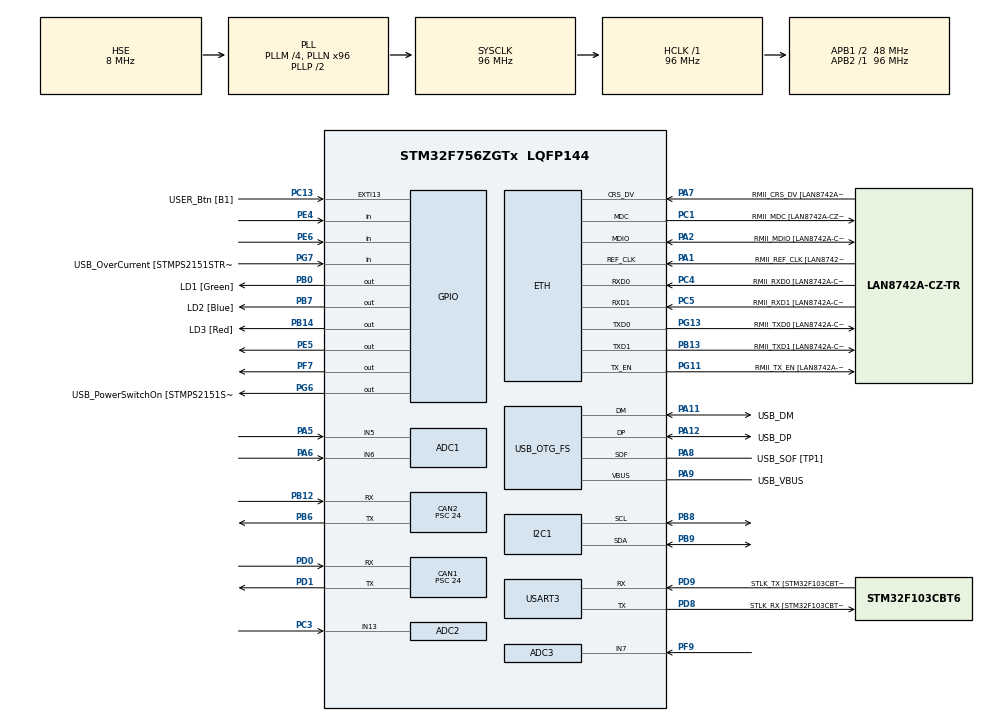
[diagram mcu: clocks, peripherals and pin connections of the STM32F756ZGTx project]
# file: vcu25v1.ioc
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ADC1.Channel-0\#ChannelRegularConversion=ADC_CHANNEL_5
ADC1.Channel-1\#ChannelRegularConversion=ADC_CHANNEL_6
ADC1.NbrOfConversion=2
ADC1.NbrOfConversionFlag=1
ADC1.Rank-0\#ChannelRegularConversion=1
ADC1.Rank-1\#ChannelRegularConversion=2
ADC1.SamplingTime-0\#ChannelRegularConversion=ADC_SAMPLETIME_15CYCLES
ADC1.SamplingTime-1\#ChannelRegularConversion=ADC_SAMPLETIME_15CYCLES
ADC1.ScanConvMode=ADC_SCAN_ENABLE
ADC1.master=1
ADC2.Channel-6\#ChannelRegularConversion=ADC_CHANNEL_13
ADC2.NbrOfConversionFlag=1
ADC2.Rank-6\#ChannelRegularConversion=1
ADC2.SamplingTime-6\#ChannelRegularConversion=ADC_SAMPLETIME_3CYCLES
ADC3.Channel-8\#ChannelRegularConversion=ADC_CHANNEL_7
ADC3.NbrOfConversionFlag=1
ADC3.Rank-8\#ChannelRegularConversion=1
ADC3.SamplingTime-8\#ChannelRegularConversion=ADC_SAMPLETIME_15CYCLES
CAN1.BS1=CAN_BS1_2TQ
CAN1.CalculateBaudRate=500000
CAN1.CalculateTimeBit=2000
CAN1.CalculateTimeQuantum=500.0
CAN1.Prescaler=24
CAN2.BS1=CAN_BS1_2TQ
CAN2.CalculateBaudRate=500000
CAN2.CalculateTimeBit=2000
CAN2.CalculateTimeQuantum=500.0
CAN2.Prescaler=24
ETH.MediaInterface=HAL_ETH_RMII_MODE
ETH.PHY_Name=LAN8742A_PHY_ADDRESS
ETH.PHY_Value=0
ETH.PhyAddress=0
FREERTOS.BinarySemaphores01=ADCDataReady,Dynamic,NULL,Available
FREERTOS.Tasks01=InverterProcess,24,384,InverterProcessStart,Default,NULL,Dynamic,NULL,NULL;Plausibility,24,384,PlausibilityStart,Default,NULL,Dynamic,NULL,NULL;AppsVerify,24,384,AppsVerifyStart,Default,NULL,Dynamic,NULL,NULL;BrakesVerify,24,384,BrakesVerifyStart,Default,NULL,Dynamic,NULL,NULL;PedalCalibratio,40,384,PedalCalStart,Default,NULL,Dynamic,NULL,NULL;readyTask,32,384,readyTaskStart,Default,NULL,Dynamic,NULL,NULL;inverterVerify,32,384,inverterVerifyStart,Default,NULL,Dynamic,NULL,NULL
FREERTOS.configUSE_NEWLIB_REENTRANT=1
I2C1.Timing=0x20303E5D
Mcu.Family=STM32F7
Mcu.Name=STM32F756ZGTx
Mcu.Package=LQFP144
NVIC.PriorityGroup=NVIC_PRIORITYGROUP_4
NVIC.TIM6_DAC_IRQn=true\:15\:0\:false\:false\:true\:false\:false\:true\:true
NVIC.TimeBase=TIM6_DAC_IRQn
NVIC.TimeBaseIP=TIM6
PA1.GPIO_Label=RMII_REF_CLK [LAN8742A-CZ-TR_REFCLK0]
PA1.Mode=RMII
PA1.Signal=ETH_REF_CLK
PA10.GPIO_Label=USB_ID
PA10.Signal=USB_OTG_FS_ID
PA11.GPIO_Label=USB_DM
PA11.Mode=Device_Only
PA11.Signal=USB_OTG_FS_DM
PA12.GPIO_Label=USB_DP
PA12.Mode=Device_Only
PA12.Signal=USB_OTG_FS_DP
PA13.GPIO_Label=TMS
PA13.Mode=Serial_Wire
PA13.Signal=SYS_JTMS-SWDIO
PA14.GPIO_Label=TCK
PA14.Mode=Serial_Wire
PA14.Signal=SYS_JTCK-SWCLK
PA2.GPIO_Label=RMII_MDIO [LAN8742A-CZ-TR_MDIO]
PA2.Mode=RMII
PA2.Signal=ETH_MDIO
PA5.Signal=ADCx_IN5
PA6.Signal=ADCx_IN6
PA7.GPIO_Label=RMII_CRS_DV [LAN8742A-CZ-TR_CRS_DV]
PA7.Mode=RMII
PA7.Signal=ETH_CRS_DV
PA8.GPIO_Label=USB_SOF [TP1]
PA8.Mode=Activate_SOF_FS
PA8.Signal=USB_OTG_FS_SOF
PA9.GPIO_Label=USB_VBUS
PA9.Mode=Activate_VBUS
PA9.Signal=USB_OTG_FS_VBUS
PB0.GPIO_Label=LD1 [Green]
PB0.Signal=GPIO_Output
PB12.Mode=CAN_Activate
PB12.Signal=CAN2_RX
PB13.GPIO_Label=RMII_TXD1 [LAN8742A-CZ-TR_TXD1]
PB13.Mode=RMII
PB13.Signal=ETH_TXD1
PB14.GPIO_Label=LD3 [Red]
PB14.Signal=GPIO_Output
PB3.GPIO_Label=SW0
PB3.Signal=SYS_JTDO-SWO
PB6.Mode=CAN_Activate
PB6.Signal=CAN2_TX
PB7.GPIO_Label=LD2 [Blue]
PB7.Signal=GPIO_Output
PB8.Mode=I2C
PB8.Signal=I2C1_SCL
PB9.Mode=I2C
PB9.Signal=I2C1_SDA
PC1.GPIO_Label=RMII_MDC [LAN8742A-CZ-TR_MDC]
PC1.Mode=RMII
PC1.Signal=ETH_MDC
PC13.GPIO_Label=USER_Btn [B1]
PC13.Signal=GPXTI13
PC14/OSC32_IN.Mode=LSE-External-Oscillator
PC14/OSC32_IN.Signal=RCC_OSC32_IN
PC15/OSC32_OUT.Mode=LSE-External-Oscillator
PC15/OSC32_OUT.Signal=RCC_OSC32_OUT
PC3.Signal=ADCx_IN13
PC4.GPIO_Label=RMII_RXD0 [LAN8742A-CZ-TR_RXD0]
PC4.Mode=RMII
PC4.Signal=ETH_RXD0
PC5.GPIO_Label=RMII_RXD1 [LAN8742A-CZ-TR_RXD1]
PC5.Mode=RMII
PC5.Signal=ETH_RXD1
PD0.Mode=CAN_Activate
PD0.Signal=CAN1_RX
PD1.Mode=CAN_Activate
PD1.Signal=CAN1_TX
PD8.GPIO_Label=STLK_RX [STM32F103CBT6_PA3]
PD8.Mode=Asynchronous
PD8.Signal=USART3_TX
PD9.GPIO_Label=STLK_TX [STM32F103CBT6_PA2]
PD9.Mode=Asynchronous
PD9.Signal=USART3_RX
PE4.Signal=GPIO_Input
PE5.Signal=GPIO_Output
PE6.Signal=GPIO_Input
PF7.Signal=GPIO_Output
PF9.Mode=IN7
PF9.Signal=ADC3_IN7
PG11.GPIO_Label=RMII_TX_EN [LAN8742A-CZ-TR_TXEN]
PG11.Mode=RMII
PG11.Signal=ETH_TX_EN
PG13.GPIO_Label=RMII_TXD0 [LAN8742A-CZ-TR_TXD0]
PG13.Mode=RMII
PG13.Signal=ETH_TXD0
PG6.GPIO_Label=USB_PowerSwitchOn [STMPS2151STR_EN]
PG6.Signal=GPIO_Output
PG7.GPIO_Label=USB_OverCurrent [STMPS2151STR_FAULT]
PG7.Signal=GPIO_Input
PH0/OSC_IN.GPIO_Label=MCO [STM32F103CBT6_PA8]
PH0/OSC_IN.Mode=HSE-External-Clock-Source
PH0/OSC_IN.Signal=RCC_OSC_IN
PH1/OSC_OUT.Mode=HSE-External-Clock-Source
PH1/OSC_OUT.Signal=RCC_OSC_OUT
ProjectManager.HeapSize=0x200
ProjectManager.StackSize=0x400
ProjectManager.TargetToolchain=STM32CubeIDE
RCC.48MHZClocksFreq_Value=24000000
RCC.AHBFreq_Value=96000000
RCC.APB1CLKDivider=RCC_HCLK_DIV2
RCC.APB1Freq_Value=48000000
RCC.APB1TimFreq_Value=96000000
RCC.APB2Freq_Value=96000000
RCC.APB2TimFreq_Value=96000000
RCC.CortexFreq_Value=96000000
RCC.HCLKFreq_Value=96000000
RCC.HSE_VALUE=8000000
RCC.HSI_VALUE=16000000
RCC.PLLM=4
RCC.PLLMUL=RCC_PLL_MUL9
RCC.PLLN=96
RCC.PLLQ=4
RCC.PRESCALERUSB=RCC_USBCLKSOURCE_PLL_DIV1_5
RCC.SYSCLKFreq_VALUE=96000000
RCC.SYSCLKSource=RCC_SYSCLKSOURCE_PLLCLK
RCC.SYSCLKSourceVirtual=RCC_SYSCLKSOURCE_PLLCLK
RCC.USBFreq_Value=48000000
RCC.VCOOutputFreq_Value=192000000
SH.ADCx_IN13.0=ADC2_IN13,IN13
SH.ADCx_IN5.0=ADC1_IN5,IN5
SH.ADCx_IN6.0=ADC1_IN6,IN6
USART3.VirtualMode-Asynchronous=VM_ASYNC
USB_OTG_FS.VirtualMode=Device_Only
VP_FREERTOS_VS_CMSIS_V2.Mode=CMSIS_V2
VP_SYS_VS_tim6.Mode=TIM6
board=NUCLEO-F756ZG

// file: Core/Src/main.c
/* USER CODE BEGIN Header */
/**
  ******************************************************************************
  * @file           : main.c
  * @brief          : Main program body
  ******************************************************************************
  * @attention
  *
  * Copyright (c) 2025 STMicroelectronics.
  * All rights reserved.
  *
  * This software is licensed under terms that can be found in the LICENSE file
  * in the root directory of this software component.
  * If no LICENSE file comes with this software, it is provided AS-IS.
  *
  ******************************************************************************
  */
/* USER CODE END Header */
#include "main.h"
#include "string.h"
#include "cmsis_os.h"

/* USER CODE BEGIN PD */
#define ADC_NUM_CHANNELS 2 // Matches hadc3.Init.NbrOfConversion
/* USER CODE END PD */

#if defined ( __ICCARM__ ) /*!< IAR Compiler */
#pragma location=0x2004c000
ETH_DMADescTypeDef  DMARxDscrTab[ETH_RX_DESC_CNT]; /* Ethernet Rx DMA Descriptors */
#pragma location=0x2004c0a0
ETH_DMADescTypeDef  DMATxDscrTab[ETH_TX_DESC_CNT]; /* Ethernet Tx DMA Descriptors */

#elif defined ( __CC_ARM )  /* MDK ARM Compiler */

__attribute__((at(0x2004c000))) ETH_DMADescTypeDef  DMARxDscrTab[ETH_RX_DESC_CNT]; /* Ethernet Rx DMA Descriptors */
__attribute__((at(0x2004c0a0))) ETH_DMADescTypeDef  DMATxDscrTab[ETH_TX_DESC_CNT]; /* Ethernet Tx DMA Descriptors */

#elif defined ( __GNUC__ ) /* GNU Compiler */

ETH_DMADescTypeDef DMARxDscrTab[ETH_RX_DESC_CNT] __attribute__((section(".RxDecripSection"))); /* Ethernet Rx DMA Descriptors */
ETH_DMADescTypeDef DMATxDscrTab[ETH_TX_DESC_CNT] __attribute__((section(".TxDecripSection")));   /* Ethernet Tx DMA Descriptors */
#endif

ETH_TxPacketConfig TxConfig;

ADC_HandleTypeDef hadc1;
ADC_HandleTypeDef hadc2;
ADC_HandleTypeDef hadc3;

CAN_HandleTypeDef hcan1;
CAN_HandleTypeDef hcan2;

ETH_HandleTypeDef heth;

I2C_HandleTypeDef hi2c1;

UART_HandleTypeDef huart3;

PCD_HandleTypeDef hpcd_USB_OTG_FS;

/* Definitions for InverterProcess */
osThreadId_t InverterProcessHandle;
const osThreadAttr_t InverterProcess_attributes = {
  .name = "InverterProcess",
  .stack_size = 384 * 4,
  .priority = (osPriority_t) osPriorityNormal,
};
/* Definitions for Plausibility */
osThreadId_t PlausibilityHandle;
const osThreadAttr_t Plausibility_attributes = {
  .name = "Plausibility",
  .stack_size = 384 * 4,
  .priority = (osPriority_t) osPriorityNormal,
};
/* Definitions for AppsVerify */
osThreadId_t AppsVerifyHandle;
const osThreadAttr_t AppsVerify_attributes = {
  .name = "AppsVerify",
  .stack_size = 384 * 4,
  .priority = (osPriority_t) osPriorityNormal,
};
/* Definitions for BrakesVerify */
osThreadId_t BrakesVerifyHandle;
const osThreadAttr_t BrakesVerify_attributes = {
  .name = "BrakesVerify",
  .stack_size = 384 * 4,
  .priority = (osPriority_t) osPriorityNormal,
};
/* Definitions for PedalCalibratio */
osThreadId_t PedalCalibratioHandle;
const osThreadAttr_t PedalCalibratio_attributes = {
  .name = "PedalCalibratio",
  .stack_size = 384 * 4,
  .priority = (osPriority_t) osPriorityHigh,
};
/* Definitions for readyTask */
osThreadId_t readyTaskHandle;
const osThreadAttr_t readyTask_attributes = {
  .name = "readyTask",
  .stack_size = 384 * 4,
  .priority = (osPriority_t) osPriorityAboveNormal,
};
/* Definitions for inverterVerify */
osThreadId_t inverterVerifyHandle;
const osThreadAttr_t inverterVerify_attributes = {
  .name = "inverterVerify",
  .stack_size = 384 * 4,
  .priority = (osPriority_t) osPriorityAboveNormal,
};
/* Definitions for ADCDataReady */
osSemaphoreId_t ADCDataReadyHandle;
const osSemaphoreAttr_t ADCDataReady_attributes = {
  .name = "ADCDataReady"
};
/* USER CODE BEGIN PV */
uint32_t appsRaw1Min = 0;
uint32_t appsRaw1Max = 0;
uint32_t appsRaw2Min = 0;
uint32_t appsRaw2Max = 0;
float appsConverted = 0.0;

uint32_t brakesRaw1Min = 0;
uint32_t brakesRaw1Max = 0;
uint32_t brakesRaw2Min = 0;
uint32_t brakesRaw2Max = 0;
uint32_t brakesConverted = 0;

uint32_t appsRaw1;

volatile uint32_t adcResults[ADC_NUM_CHANNELS]; // Use volatile because DMA writes to it

bool pedalFault = 0;
bool inverterFault = 0;
bool brakeTrigger = 0;
bool currentFault = 0;

// NEW GLOBAL VARIABLES FOR TASK COMMUNICATION (replacing queues)
volatile float global_accel_position = 0.0f;    // Shared between appsVerify and plausibility (0.0-1.0 range)
volatile float global_brake_position = 0.0f;    // Shared between brakeVerify and plausibility (0.0-1.0 range)
volatile float global_torque_command = 0.0f;    // Shared between plausibility and VCU (N⋅m)
volatile bool global_accel_data_updated = false;      // Flag to indicate new data available
volatile bool global_brake_data_updated = false;      // Flag to indicate new data available
volatile bool global_brake_isShort = false;		// Flag to see if brake shorting or open circuit
volatile bool global_plausibility_check = true;	  // Flag to check plausibility

/* USER CODE END PV */

void SystemClock_Config(void);
static void MX_GPIO_Init(void);
static void MX_ETH_Init(void);
static void MX_I2C1_Init(void);
static void MX_USART3_UART_Init(void);
static void MX_USB_OTG_FS_PCD_Init(void);
static void MX_CAN1_Init(void);
static void MX_ADC1_Init(void);
static void MX_CAN2_Init(void);
static void MX_ADC2_Init(void);
static void MX_ADC3_Init(void);
void InverterProcessStart(void *argument);
void PlausibilityStart(void *argument);
void AppsVerifyStart(void *argument);
void BrakesVerifyStart(void *argument);
void PedalCalStart(void *argument);
void readyTaskStart(void *argument);
void inverterVerifyStart(void *argument);

int main(void)
{

  /* MCU Configuration--------------------------------------------------------*/

  /* Reset of all peripherals, Initializes the Flash interface and the Systick. */
  HAL_Init();

  /* Configure the system clock */
  SystemClock_Config();

  /* Initialize all configured peripherals */
  MX_GPIO_Init();
  MX_ETH_Init();
  MX_I2C1_Init();
  MX_USART3_UART_Init();
  MX_USB_OTG_FS_PCD_Init();
  MX_CAN1_Init();
  MX_ADC1_Init();
  MX_CAN2_Init();
  MX_ADC2_Init();
  MX_ADC3_Init();
  /* USER CODE BEGIN 2 */
  // hcan1 = high priority, hcan2 = low priority
  HAL_CAN_Start(&hcan1);
  HAL_CAN_Start(&hcan2);

  /* USER CODE END 2 */

  /* Init scheduler */
  osKernelInitialize();

  /* Create the semaphores(s) */
  /* creation of ADCDataReady */
  ADCDataReadyHandle = osSemaphoreNew(1, 1, &ADCDataReady_attributes);

  /* Create the thread(s) */
  /* creation of InverterProcess */
  InverterProcessHandle = osThreadNew(InverterProcessStart, NULL, &InverterProcess_attributes);

  /* creation of Plausibility */
  PlausibilityHandle = osThreadNew(PlausibilityStart, NULL, &Plausibility_attributes);

  /* creation of AppsVerify */
  AppsVerifyHandle = osThreadNew(AppsVerifyStart, NULL, &AppsVerify_attributes);

  /* creation of BrakesVerify */
  BrakesVerifyHandle = osThreadNew(BrakesVerifyStart, NULL, &BrakesVerify_attributes);

  /* creation of PedalCalibratio */
  PedalCalibratioHandle = osThreadNew(PedalCalStart, NULL, &PedalCalibratio_attributes);

  /* creation of readyTask */
  readyTaskHandle = osThreadNew(readyTaskStart, NULL, &readyTask_attributes);

  /* creation of inverterVerify */
  inverterVerifyHandle = osThreadNew(inverterVerifyStart, NULL, &inverterVerify_attributes);

  /* Start scheduler */
  osKernelStart();

  /* We should never get here as control is now taken by the scheduler */

  /* Infinite loop */
  while (1)
  {

  }
}

void SystemClock_Config(void)
{
  RCC_OscInitTypeDef RCC_OscInitStruct = {0};
  RCC_ClkInitTypeDef RCC_ClkInitStruct = {0};

  /** Configure LSE Drive Capability
  */
  HAL_PWR_EnableBkUpAccess();

  /** Configure the main internal regulator output voltage
  */
  __HAL_RCC_PWR_CLK_ENABLE();
  __HAL_PWR_VOLTAGESCALING_CONFIG(PWR_REGULATOR_VOLTAGE_SCALE3);

  /** Initializes the RCC Oscillators according to the specified parameters
  * in the RCC_OscInitTypeDef structure.
  */
  RCC_OscInitStruct.OscillatorType = RCC_OSCILLATORTYPE_HSE;
  RCC_OscInitStruct.HSEState = RCC_HSE_BYPASS;
  RCC_OscInitStruct.PLL.PLLState = RCC_PLL_ON;
  RCC_OscInitStruct.PLL.PLLSource = RCC_PLLSOURCE_HSE;
  RCC_OscInitStruct.PLL.PLLM = 4;
  RCC_OscInitStruct.PLL.PLLN = 96;
  RCC_OscInitStruct.PLL.PLLP = RCC_PLLP_DIV2;
  RCC_OscInitStruct.PLL.PLLQ = 4;
  if (HAL_RCC_OscConfig(&RCC_OscInitStruct) != HAL_OK)
  {
    Error_Handler();
  }

  /** Activate the Over-Drive mode
  */
  if (HAL_PWREx_EnableOverDrive() != HAL_OK)
  {
    Error_Handler();
  }

  /** Initializes the CPU, AHB and APB buses clocks
  */
  RCC_ClkInitStruct.ClockType = RCC_CLOCKTYPE_HCLK|RCC_CLOCKTYPE_SYSCLK
                              |RCC_CLOCKTYPE_PCLK1|RCC_CLOCKTYPE_PCLK2;
  RCC_ClkInitStruct.SYSCLKSource = RCC_SYSCLKSOURCE_PLLCLK;
  RCC_ClkInitStruct.AHBCLKDivider = RCC_SYSCLK_DIV1;
  RCC_ClkInitStruct.APB1CLKDivider = RCC_HCLK_DIV2;
  RCC_ClkInitStruct.APB2CLKDivider = RCC_HCLK_DIV1;

  if (HAL_RCC_ClockConfig(&RCC_ClkInitStruct, FLASH_LATENCY_3) != HAL_OK)
  {
    Error_Handler();
  }
}

static void MX_ADC1_Init(void)
{

  ADC_ChannelConfTypeDef sConfig = {0};

  /** Configure the global features of the ADC (Clock, Resolution, Data Alignment and number of conversion)
  */
  hadc1.Instance = ADC1;
  hadc1.Init.ClockPrescaler = ADC_CLOCK_SYNC_PCLK_DIV4;
  hadc1.Init.Resolution = ADC_RESOLUTION_12B;
  hadc1.Init.ScanConvMode = ADC_SCAN_ENABLE;
  hadc1.Init.ContinuousConvMode = DISABLE;
  hadc1.Init.DiscontinuousConvMode = DISABLE;
  hadc1.Init.ExternalTrigConvEdge = ADC_EXTERNALTRIGCONVEDGE_NONE;
  hadc1.Init.ExternalTrigConv = ADC_SOFTWARE_START;
  hadc1.Init.DataAlign = ADC_DATAALIGN_RIGHT;
  hadc1.Init.NbrOfConversion = 2;
  hadc1.Init.DMAContinuousRequests = DISABLE;
  hadc1.Init.EOCSelection = ADC_EOC_SINGLE_CONV;
  if (HAL_ADC_Init(&hadc1) != HAL_OK)
  {
    Error_Handler();
  }

  /** Configure for the selected ADC regular channel its corresponding rank in the sequencer and its sample time.
  */
  sConfig.Channel = ADC_CHANNEL_5;
  sConfig.Rank = ADC_REGULAR_RANK_1;
  sConfig.SamplingTime = ADC_SAMPLETIME_15CYCLES;
  if (HAL_ADC_ConfigChannel(&hadc1, &sConfig) != HAL_OK)
  {
    Error_Handler();
  }

  /** Configure for the selected ADC regular channel its corresponding rank in the sequencer and its sample time.
  */
  sConfig.Channel = ADC_CHANNEL_6;
  sConfig.Rank = ADC_REGULAR_RANK_2;
  if (HAL_ADC_ConfigChannel(&hadc1, &sConfig) != HAL_OK)
  {
    Error_Handler();
  }

}

static void MX_ADC2_Init(void)
{

  ADC_ChannelConfTypeDef sConfig = {0};

  /** Configure the global features of the ADC (Clock, Resolution, Data Alignment and number of conversion)
  */
  hadc2.Instance = ADC2;
  hadc2.Init.ClockPrescaler = ADC_CLOCK_SYNC_PCLK_DIV4;
  hadc2.Init.Resolution = ADC_RESOLUTION_12B;
  hadc2.Init.ScanConvMode = ADC_SCAN_DISABLE;
  hadc2.Init.ContinuousConvMode = DISABLE;
  hadc2.Init.DiscontinuousConvMode = DISABLE;
  hadc2.Init.ExternalTrigConvEdge = ADC_EXTERNALTRIGCONVEDGE_NONE;
  hadc2.Init.ExternalTrigConv = ADC_SOFTWARE_START;
  hadc2.Init.DataAlign = ADC_DATAALIGN_RIGHT;
  hadc2.Init.NbrOfConversion = 1;
  hadc2.Init.DMAContinuousRequests = DISABLE;
  hadc2.Init.EOCSelection = ADC_EOC_SINGLE_CONV;
  if (HAL_ADC_Init(&hadc2) != HAL_OK)
  {
    Error_Handler();
  }

  /** Configure for the selected ADC regular channel its corresponding rank in the sequencer and its sample time.
  */
  sConfig.Channel = ADC_CHANNEL_13;
  sConfig.Rank = ADC_REGULAR_RANK_1;
  sConfig.SamplingTime = ADC_SAMPLETIME_3CYCLES;
  if (HAL_ADC_ConfigChannel(&hadc2, &sConfig) != HAL_OK)
  {
    Error_Handler();
  }

}

static void MX_ADC3_Init(void)
{

  ADC_ChannelConfTypeDef sConfig = {0};

  /** Configure the global features of the ADC (Clock, Resolution, Data Alignment and number of conversion)
  */
  hadc3.Instance = ADC3;
  hadc3.Init.ClockPrescaler = ADC_CLOCK_SYNC_PCLK_DIV4;
  hadc3.Init.Resolution = ADC_RESOLUTION_12B;
  hadc3.Init.ScanConvMode = ADC_SCAN_DISABLE;
  hadc3.Init.ContinuousConvMode = DISABLE;
  hadc3.Init.DiscontinuousConvMode = DISABLE;
  hadc3.Init.ExternalTrigConvEdge = ADC_EXTERNALTRIGCONVEDGE_NONE;
  hadc3.Init.ExternalTrigConv = ADC_SOFTWARE_START;
  hadc3.Init.DataAlign = ADC_DATAALIGN_RIGHT;
  hadc3.Init.NbrOfConversion = 1;
  hadc3.Init.DMAContinuousRequests = DISABLE;
  hadc3.Init.EOCSelection = ADC_EOC_SINGLE_CONV;
  if (HAL_ADC_Init(&hadc3) != HAL_OK)
  {
    Error_Handler();
  }

  /** Configure for the selected ADC regular channel its corresponding rank in the sequencer and its sample time.
  */
  sConfig.Channel = ADC_CHANNEL_7;
  sConfig.Rank = ADC_REGULAR_RANK_1;
  sConfig.SamplingTime = ADC_SAMPLETIME_15CYCLES;
  if (HAL_ADC_ConfigChannel(&hadc3, &sConfig) != HAL_OK)
  {
    Error_Handler();
  }
  /* USER CODE BEGIN ADC3_Init 2 */

  // Link ADC3 to its DMA channel (e.g., DMA2_Stream1 for ADC3 on some STM32s)
//  hdma_adc3.Instance = DMA2_Stream1; // Or whatever is correct for your MCU
//  hdma_adc3.Init.Channel = DMA_CHANNEL_2; // Or correct channel for ADC3
//  hdma_adc3.Init.Direction = DMA_PERIPH_TO_MEMORY;
//  hdma_adc3.Init.PeriphInc = DMA_PINC_DISABLE;
//  hdma_adc3.Init.MemInc = DMA_MINC_ENABLE; // Increment memory address for each conversion
//  hdma_adc3.Init.PeriphDataAlignment = DMA_PDATAALIGN_HALFWORD; // 16-bit for 12-bit ADC
//  hdma_adc3.Init.MemDataAlignment = DMA_MDATAALIGN_HALFWORD;
//  hdma_adc3.Init.Mode = DMA_CIRCULAR; // Or DMA_CIRCULAR if continuous
//  hdma_adc3.Init.Priority = DMA_PRIORITY_LOW;
//  hdma_adc3.Init.FIFOMode = DMA_FIFOMODE_DISABLE; // Or ENABLE with specific threshold
//  if (HAL_DMA_Init(&hdma_adc3) != HAL_OK)
//  {
//    Error_Handler();
//  }
//
//  __HAL_LINKDMA(&hadc3, DMA_Handle, hdma_adc3); // Link ADC handle to DMA handle

  /* USER CODE END ADC3_Init 2 */

}

static void MX_CAN1_Init(void)
{

  hcan1.Instance = CAN1;
  hcan1.Init.Prescaler = 24;
  hcan1.Init.Mode = CAN_MODE_NORMAL;
  hcan1.Init.SyncJumpWidth = CAN_SJW_1TQ;
  hcan1.Init.TimeSeg1 = CAN_BS1_2TQ;
  hcan1.Init.TimeSeg2 = CAN_BS2_1TQ;
  hcan1.Init.TimeTriggeredMode = DISABLE;
  hcan1.Init.AutoBusOff = DISABLE;
  hcan1.Init.AutoWakeUp = DISABLE;
  hcan1.Init.AutoRetransmission = DISABLE;
  hcan1.Init.ReceiveFifoLocked = DISABLE;
  hcan1.Init.TransmitFifoPriority = DISABLE;
  if (HAL_CAN_Init(&hcan1) != HAL_OK)
  {
    Error_Handler();
  }
  /* USER CODE BEGIN CAN1_Init 2 */
  // Configure CAN filters - CRITICAL for proper CAN operation
  CAN_FilterTypeDef canFilter;
  canFilter.FilterActivation = CAN_FILTER_ENABLE;
  canFilter.FilterBank = 0;
  canFilter.FilterFIFOAssignment = CAN_FILTER_FIFO0;
  canFilter.FilterIdHigh = 0x0A6 << 5;  // ID 0x0A6 shifted left by 5 bits for 32-bit mode
  canFilter.FilterIdLow = 0x0000;
  canFilter.FilterMaskIdHigh = 0x7FF << 5;  // Full mask for 11-bit ID (0x7FF << 5)
  canFilter.FilterMaskIdLow = 0x0000;
  canFilter.FilterMode = CAN_FILTERMODE_IDMASK;
  canFilter.FilterScale = CAN_FILTERSCALE_32BIT;
  canFilter.SlaveStartFilterBank = 14;

  if (HAL_CAN_ConfigFilter(&hcan1, &canFilter) != HAL_OK) {
    Error_Handler();
  }

  /* USER CODE END CAN1_Init 2 */

}

static void MX_CAN2_Init(void)
{

  hcan2.Instance = CAN2;
  hcan2.Init.Prescaler = 24;
  hcan2.Init.Mode = CAN_MODE_NORMAL;
  hcan2.Init.SyncJumpWidth = CAN_SJW_1TQ;
  hcan2.Init.TimeSeg1 = CAN_BS1_2TQ;
  hcan2.Init.TimeSeg2 = CAN_BS2_1TQ;
  hcan2.Init.TimeTriggeredMode = DISABLE;
  hcan2.Init.AutoBusOff = DISABLE;
  hcan2.Init.AutoWakeUp = DISABLE;
  hcan2.Init.AutoRetransmission = DISABLE;
  hcan2.Init.ReceiveFifoLocked = DISABLE;
  hcan2.Init.TransmitFifoPriority = DISABLE;
  if (HAL_CAN_Init(&hcan2) != HAL_OK)
  {
    Error_Handler();
  }
  /* USER CODE BEGIN CAN2_Init 2 */

  // Configure CAN filters - CRITICAL for proper CAN operation
  CAN_FilterTypeDef canFilter;
  canFilter.FilterActivation = CAN_FILTER_ENABLE;
  canFilter.FilterBank = 0;
  canFilter.FilterFIFOAssignment = CAN_FILTER_FIFO0;
  canFilter.FilterIdHigh = 0x0000;
  canFilter.FilterIdLow = 0x0000;
  canFilter.FilterMaskIdHigh = 0x0000;
  canFilter.FilterMaskIdLow = 0x0000;
  canFilter.FilterMode = CAN_FILTERMODE_IDMASK;
  canFilter.FilterScale = CAN_FILTERSCALE_32BIT;
  canFilter.SlaveStartFilterBank = 14;  // For CAN2 - not used here but required

  // Configure filter for CAN2 as well
  canFilter.FilterBank = 14;  // Use filter bank 14 for CAN2
  if (HAL_CAN_ConfigFilter(&hcan2, &canFilter) != HAL_OK) {
    Error_Handler();
  }
  /* USER CODE END CAN2_Init 2 */

}

static void MX_ETH_Init(void)
{

   static uint8_t MACAddr[6];

  heth.Instance = ETH;
  MACAddr[0] = 0x00;
  MACAddr[1] = 0x80;
  MACAddr[2] = 0xE1;
  MACAddr[3] = 0x00;
  MACAddr[4] = 0x00;
  MACAddr[5] = 0x00;
  heth.Init.MACAddr = &MACAddr[0];
  heth.Init.MediaInterface = HAL_ETH_RMII_MODE;
  heth.Init.TxDesc = DMATxDscrTab;
  heth.Init.RxDesc = DMARxDscrTab;
  heth.Init.RxBuffLen = 1524;

  if (HAL_ETH_Init(&heth) != HAL_OK)
  {
    Error_Handler();
  }

  memset(&TxConfig, 0 , sizeof(ETH_TxPacketConfig));
  TxConfig.Attributes = ETH_TX_PACKETS_FEATURES_CSUM | ETH_TX_PACKETS_FEATURES_CRCPAD;
  TxConfig.ChecksumCtrl = ETH_CHECKSUM_IPHDR_PAYLOAD_INSERT_PHDR_CALC;
  TxConfig.CRCPadCtrl = ETH_CRC_PAD_INSERT;

}

static void MX_I2C1_Init(void)
{

  hi2c1.Instance = I2C1;
  hi2c1.Init.Timing = 0x20303E5D;
  hi2c1.Init.OwnAddress1 = 0;
  hi2c1.Init.AddressingMode = I2C_ADDRESSINGMODE_7BIT;
  hi2c1.Init.DualAddressMode = I2C_DUALADDRESS_DISABLE;
  hi2c1.Init.OwnAddress2 = 0;
  hi2c1.Init.OwnAddress2Masks = I2C_OA2_NOMASK;
  hi2c1.Init.GeneralCallMode = I2C_GENERALCALL_DISABLE;
  hi2c1.Init.NoStretchMode = I2C_NOSTRETCH_DISABLE;
  if (HAL_I2C_Init(&hi2c1) != HAL_OK)
  {
    Error_Handler();
  }

  /** Configure Analogue filter
  */
  if (HAL_I2CEx_ConfigAnalogFilter(&hi2c1, I2C_ANALOGFILTER_ENABLE) != HAL_OK)
  {
    Error_Handler();
  }

  /** Configure Digital filter
  */
  if (HAL_I2CEx_ConfigDigitalFilter(&hi2c1, 0) != HAL_OK)
  {
    Error_Handler();
  }

}

static void MX_USART3_UART_Init(void)
{

  huart3.Instance = USART3;
  huart3.Init.BaudRate = 115200;
  huart3.Init.WordLength = UART_WORDLENGTH_8B;
  huart3.Init.StopBits = UART_STOPBITS_1;
  huart3.Init.Parity = UART_PARITY_NONE;
  huart3.Init.Mode = UART_MODE_TX_RX;
  huart3.Init.HwFlowCtl = UART_HWCONTROL_NONE;
  huart3.Init.OverSampling = UART_OVERSAMPLING_16;
  huart3.Init.OneBitSampling = UART_ONE_BIT_SAMPLE_DISABLE;
  huart3.AdvancedInit.AdvFeatureInit = UART_ADVFEATURE_NO_INIT;
  if (HAL_UART_Init(&huart3) != HAL_OK)
  {
    Error_Handler();
  }

}

static void MX_USB_OTG_FS_PCD_Init(void)
{

  hpcd_USB_OTG_FS.Instance = USB_OTG_FS;
  hpcd_USB_OTG_FS.Init.dev_endpoints = 6;
  hpcd_USB_OTG_FS.Init.speed = PCD_SPEED_FULL;
  hpcd_USB_OTG_FS.Init.dma_enable = DISABLE;
  hpcd_USB_OTG_FS.Init.phy_itface = PCD_PHY_EMBEDDED;
  hpcd_USB_OTG_FS.Init.Sof_enable = ENABLE;
  hpcd_USB_OTG_FS.Init.low_power_enable = DISABLE;
  hpcd_USB_OTG_FS.Init.lpm_enable = DISABLE;
  hpcd_USB_OTG_FS.Init.vbus_sensing_enable = ENABLE;
  hpcd_USB_OTG_FS.Init.use_dedicated_ep1 = DISABLE;
  if (HAL_PCD_Init(&hpcd_USB_OTG_FS) != HAL_OK)
  {
    Error_Handler();
  }

}

static void MX_GPIO_Init(void)
{
  GPIO_InitTypeDef GPIO_InitStruct = {0};

  /* GPIO Ports Clock Enable */
  __HAL_RCC_GPIOE_CLK_ENABLE();
  __HAL_RCC_GPIOC_CLK_ENABLE();
  __HAL_RCC_GPIOF_CLK_ENABLE();
  __HAL_RCC_GPIOH_CLK_ENABLE();
  __HAL_RCC_GPIOA_CLK_ENABLE();
  __HAL_RCC_GPIOB_CLK_ENABLE();
  __HAL_RCC_GPIOD_CLK_ENABLE();
  __HAL_RCC_GPIOG_CLK_ENABLE();

  /*Configure GPIO pin Output Level */
  HAL_GPIO_WritePin(GPIOE, GPIO_PIN_5, GPIO_PIN_RESET);

  /*Configure GPIO pin Output Level */
  HAL_GPIO_WritePin(GPIOF, GPIO_PIN_7, GPIO_PIN_RESET);

  /*Configure GPIO pin Output Level */
  HAL_GPIO_WritePin(GPIOB, LD1_Pin|LD3_Pin|LD2_Pin, GPIO_PIN_RESET);

  /*Configure GPIO pin Output Level */
  HAL_GPIO_WritePin(USB_PowerSwitchOn_GPIO_Port, USB_PowerSwitchOn_Pin, GPIO_PIN_RESET);

  /*Configure GPIO pins : PE4 PE6 */
  GPIO_InitStruct.Pin = GPIO_PIN_4|GPIO_PIN_6;
  GPIO_InitStruct.Mode = GPIO_MODE_INPUT;
  GPIO_InitStruct.Pull = GPIO_NOPULL;
  HAL_GPIO_Init(GPIOE, &GPIO_InitStruct);

  /*Configure GPIO pin : PE5 */
  GPIO_InitStruct.Pin = GPIO_PIN_5;
  GPIO_InitStruct.Mode = GPIO_MODE_OUTPUT_PP;
  GPIO_InitStruct.Pull = GPIO_NOPULL;
  GPIO_InitStruct.Speed = GPIO_SPEED_FREQ_LOW;
  HAL_GPIO_Init(GPIOE, &GPIO_InitStruct);

  /*Configure GPIO pin : USER_Btn_Pin */
  GPIO_InitStruct.Pin = USER_Btn_Pin;
  GPIO_InitStruct.Mode = GPIO_MODE_IT_RISING;
  GPIO_InitStruct.Pull = GPIO_NOPULL;
  HAL_GPIO_Init(USER_Btn_GPIO_Port, &GPIO_InitStruct);

  /*Configure GPIO pin : PF7 */
  GPIO_InitStruct.Pin = GPIO_PIN_7;
  GPIO_InitStruct.Mode = GPIO_MODE_OUTPUT_PP;
  GPIO_InitStruct.Pull = GPIO_NOPULL;
  GPIO_InitStruct.Speed = GPIO_SPEED_FREQ_LOW;
  HAL_GPIO_Init(GPIOF, &GPIO_InitStruct);

  /*Configure GPIO pins : LD1_Pin LD3_Pin LD2_Pin */
  GPIO_InitStruct.Pin = LD1_Pin|LD3_Pin|LD2_Pin;
  GPIO_InitStruct.Mode = GPIO_MODE_OUTPUT_PP;
  GPIO_InitStruct.Pull = GPIO_NOPULL;
  GPIO_InitStruct.Speed = GPIO_SPEED_FREQ_LOW;
  HAL_GPIO_Init(GPIOB, &GPIO_InitStruct);

  /*Configure GPIO pin : USB_PowerSwitchOn_Pin */
  GPIO_InitStruct.Pin = USB_PowerSwitchOn_Pin;
  GPIO_InitStruct.Mode = GPIO_MODE_OUTPUT_PP;
  GPIO_InitStruct.Pull = GPIO_NOPULL;
  GPIO_InitStruct.Speed = GPIO_SPEED_FREQ_LOW;
  HAL_GPIO_Init(USB_PowerSwitchOn_GPIO_Port, &GPIO_InitStruct);

  /*Configure GPIO pin : USB_OverCurrent_Pin */
  GPIO_InitStruct.Pin = USB_OverCurrent_Pin;
  GPIO_InitStruct.Mode = GPIO_MODE_INPUT;
  GPIO_InitStruct.Pull = GPIO_NOPULL;
  HAL_GPIO_Init(USB_OverCurrent_GPIO_Port, &GPIO_InitStruct);

}

void InverterProcessStart(void *argument)
{
  /* USER CODE BEGIN 5 */
  VCU_Init();
  /* Infinite loop */
  for(;;) {
	  VCU_Process();
	  osDelay(1);
  }
  /* USER CODE END 5 */
}

void PlausibilityStart(void *argument)
{
  /* USER CODE BEGIN PlausibilityStart */
  /* Infinite loop */
  for(;;) {
	  MapTorque();
	  osDelay(1);
  }
  /* USER CODE END PlausibilityStart */
}

void AppsVerifyStart(void *argument)
{
  /* USER CODE BEGIN AppsVerifyStart */
	/* Infinite loop */
	for(;;) {
		appsVerifyProcess();
		osDelay(1);
	}
  /* USER CODE END AppsVerifyStart */
}

void BrakesVerifyStart(void *argument)
{
  /* USER CODE BEGIN BrakesVerifyStart */
	/* Infinite loop */
	for(;;) {
		brakeVerifyProcess();
		osDelay(1);
	}
  /* USER CODE END BrakesVerifyStart */
}

/* USER CODE BEGIN Header_PedalCalStart */
/**
* @brief Function implementing the PedalCalibratio thread.
* @param argument: Not usedS
* @retval None
*/
/* USER CODE END Header_PedalCalStart */
void PedalCalStart(void *argument)
{
  /* USER CODE BEGIN PedalCalStart */
	appsCalibrate();

	brakeCalibrate();
	osDelay(1);
	vTaskDelete(NULL);
  /* USER CODE END PedalCalStart */
}

void readyTaskStart(void *argument)
{
  /* USER CODE BEGIN readyTaskStart */
  readyInit();
  /* Infinite loop */
  for(;;)
  {
    readyCheck();
    osDelay(1);
  }
  /* USER CODE END readyTaskStart */
}

void inverterVerifyStart(void *argument)
{
  /* USER CODE BEGIN inverterVerifyStart */
  /* Infinite loop */
  for(;;)
  {
	inverterVerification();
	osDelay(1);
  }
  /* USER CODE END inverterVerifyStart */
}

void HAL_TIM_PeriodElapsedCallback(TIM_HandleTypeDef *htim)
{
  if (htim->Instance == TIM6)
  {
    HAL_IncTick();
  }
}

void Error_Handler(void)
{
  __disable_irq();
  while (1)
  {
  }
}
